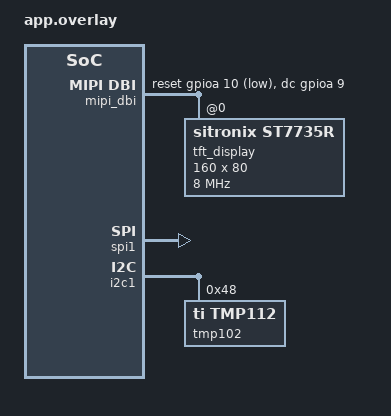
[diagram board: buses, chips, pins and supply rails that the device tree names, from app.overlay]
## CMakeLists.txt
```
cmake_minimum_required(VERSION 3.20.0)

find_package(Zephyr REQUIRED HINTS $ENV{ZEPHYR_BASE})
project(app_tmp_sensor)

# add_library(temp_sensor STATIC src/temp_sensor.cpp)
# add_library(lcd_display STATIC src/tft_display.cpp)


# target_include_directories(temp_sensor PUBLIC ${CMAKE_CURRENT_SOURCE_DIR}/include)
# target_include_directories(lcd_display PUBLIC ${CMAKE_CURRENT_SOURCE_DIR}/include)

# target_link_libraries(temp_sensor PUBLIC zephyr_interface)
# target_link_libraries(lcd_display PUBLIC zephyr_interface)

target_sources(app PRIVATE src/main.cpp)
target_sources(app PRIVATE src/papuga_scalled.c)
# target_link_libraries(app PRIVATE temp_sensor lcd_display)
```

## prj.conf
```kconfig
# CONFIG_I2C=y
CONFIG_MAIN_STACK_SIZE=65536
# CONFIG_SENSOR=y
# CONFIG_TMP112=y
CONFIG_MIPI_DBI=y
# CONFIG_CBPRINTF_FP_SUPPORT=y
CONFIG_LVGL=y
CONFIG_LV_Z_BITS_PER_PIXEL=16
CONFIG_LV_COLOR_16_SWAP=y
CONFIG_LV_Z_MEM_POOL_SIZE=8192
CONFIG_CPP=y
CONFIG_STD_CPP17=y
CONFIG_REQUIRES_FULL_LIBC=y
CONFIG_DISPLAY=y
CONFIG_ST7735R=y
CONFIG_LV_COLOR_16_SWAP=y
```

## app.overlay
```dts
/ {
    chosen {
        zephyr,display = &tft_display;
    };

    mipi_dbi {
        compatible = "zephyr,mipi-dbi-spi";
        spi-dev = <&spi1>;

        dc-gpios = <&gpioa 9 GPIO_ACTIVE_HIGH>;
        reset-gpios = <&gpioa 10 GPIO_ACTIVE_LOW>;
        #address-cells = <1>;
        #size-cells = <0>;

        tft_display: st7735r@0 {
            compatible = "sitronix,st7735r";
            reg = <0>;
            mipi-max-frequency = <8000000>;
            mipi-mode = "MIPI_DBI_MODE_SPI_4WIRE";

            width = <160>;
            height = <80>;
            x-offset = <0>;
            y-offset = <24>;

            madctl = <0x60>;
            colmod = <0x05>;

            inversion-on;

            caset = [ 00 00 00 4f  ];
            raset = [ 00 00 00 9f  ];
            invctr = <07>;
            pwctr1 = [ a2 02 84  ];
            pwctr2 = [ c5  ];
            pwctr3 = [ 0a 00  ];
            pwctr4 = [ 8a 2a  ];
            pwctr5 = [ 8a ee  ];
            vmctr1 = <0x0e>;
            frmctr1 = [ 01 2c 2d  ];
            frmctr2 = [ 01 2c 2d  ];
            frmctr3 = [ 01 2c 2d 01 2c 2d  ];
            gamctrp1 = [ 02 1c 07 12 37 32 29 2d 29 25 2b 39 00 01 03 10  ];
            gamctrn1 = [ 03 1d 07 06 2e 2c 29 2d 2e 2e 37 3f 00 00 02 10  ];
        };
    };
};

&spi1 {
    status = "okay";
    cs-gpios = <&gpiob 6 GPIO_ACTIVE_LOW>;
};

&i2c1 {
    status = "okay";

    tmp102: tmp102@48 {
        compatible = "ti,tmp112";
        reg = <0x48>;
    };
};
```

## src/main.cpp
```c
#include <zephyr/device.h>
#include <zephyr/kernel.h>
#include <zephyr/drivers/display.h>
#include <lvgl.h>

extern "C"
{
  extern const lv_image_dsc_t papuga_scalled;
}

int main()
{
  const struct device *display = DEVICE_DT_GET(DT_CHOSEN(zephyr_display));

  if (!device_is_ready(display))
  {
    printk("Error: display not ready!\n");
    return 1;
  }

  display_blanking_off(display);

  lv_obj_t *img = lv_image_create(lv_screen_active());
  lv_image_set_src(img, &papuga_scalled);
  lv_obj_align(img, LV_ALIGN_CENTER, 0, 0);

  while (1)
  {
    lv_task_handler();
    k_msleep(5);
  }

  return 0;
}
```
